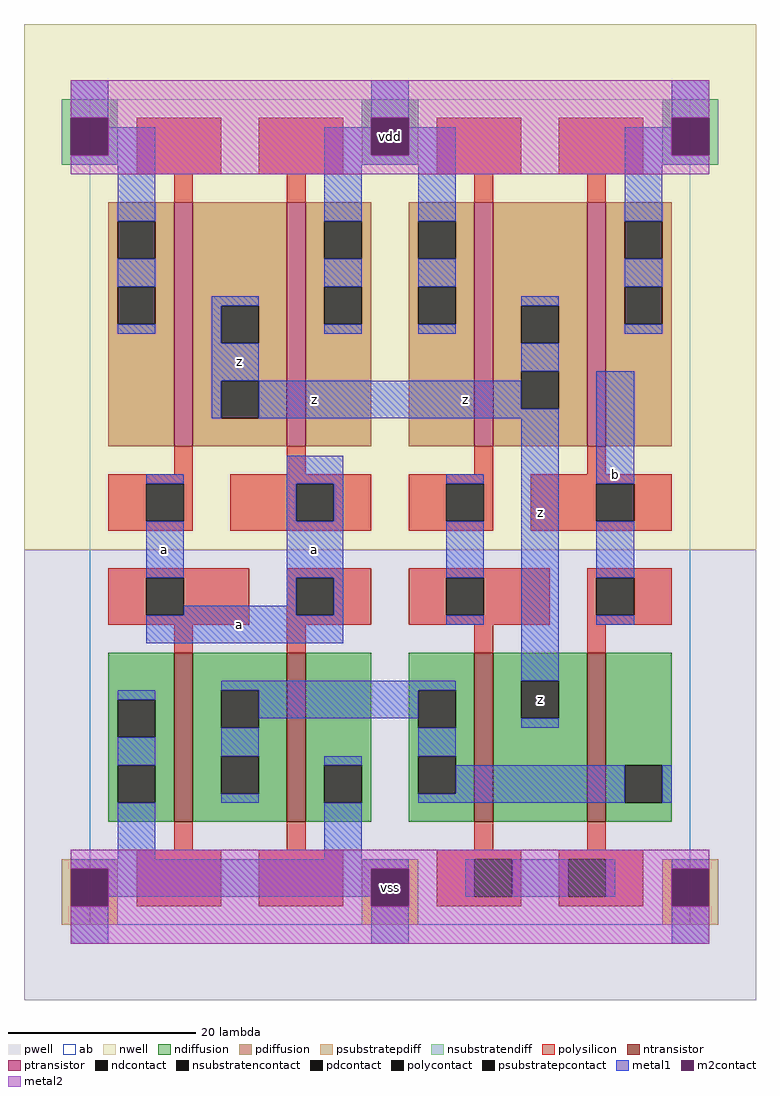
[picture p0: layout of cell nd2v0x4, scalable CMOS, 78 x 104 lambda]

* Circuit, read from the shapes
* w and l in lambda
.subckt nd2v0x4 a b vdd vss z
M1 n1 a vss vss nfet w=18 l=2 m=2
M2 z b n1 vss nfet w=18 l=2 m=2
M3 z a vdd vdd pfet w=26 l=2 m=2
M4 z b vdd vdd pfet w=26 l=2 m=2
.ends

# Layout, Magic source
magic
tech scmos
<< ab >>
rect 0 0 64 88
<< pwell >>
rect -7 -8 71 40
<< nwell >>
rect -7 40 71 96
<< polysilicon >>
rect 5 80 14 86
rect 18 80 27 86
rect 37 80 46 86
rect 50 80 59 86
rect 9 77 11 80
rect 21 77 23 80
rect 41 77 43 80
rect 53 77 55 80
rect 9 48 11 51
rect 21 48 23 51
rect 41 48 43 51
rect 53 48 55 51
rect 2 47 11 48
rect 2 43 6 47
rect 10 43 11 47
rect 2 42 11 43
rect 15 47 30 48
rect 15 43 22 47
rect 26 43 30 47
rect 15 42 30 43
rect 34 47 43 48
rect 34 43 38 47
rect 42 43 43 47
rect 34 42 43 43
rect 47 47 62 48
rect 47 43 54 47
rect 58 43 62 47
rect 47 42 62 43
rect 2 37 17 38
rect 2 33 6 37
rect 10 33 17 37
rect 2 32 17 33
rect 21 37 30 38
rect 21 33 22 37
rect 26 33 30 37
rect 21 32 30 33
rect 34 37 49 38
rect 34 33 38 37
rect 42 33 49 37
rect 34 32 49 33
rect 53 37 62 38
rect 53 33 54 37
rect 58 33 62 37
rect 53 32 62 33
rect 9 29 11 32
rect 21 29 23 32
rect 41 29 43 32
rect 53 29 55 32
rect 9 8 11 11
rect 21 8 23 11
rect 41 8 43 11
rect 53 8 55 11
rect 5 2 14 8
rect 18 2 27 8
rect 37 7 46 8
rect 37 3 41 7
rect 45 3 46 7
rect 37 2 46 3
rect 50 7 59 8
rect 50 3 51 7
rect 55 3 59 7
rect 50 2 59 3
<< ndiffusion >>
rect 2 24 9 29
rect 2 20 3 24
rect 7 20 9 24
rect 2 17 9 20
rect 2 13 3 17
rect 7 13 9 17
rect 2 11 9 13
rect 11 25 21 29
rect 11 21 14 25
rect 18 21 21 25
rect 11 18 21 21
rect 11 14 14 18
rect 18 14 21 18
rect 11 11 21 14
rect 23 17 30 29
rect 23 13 25 17
rect 29 13 30 17
rect 23 11 30 13
rect 34 25 41 29
rect 34 21 35 25
rect 39 21 41 25
rect 34 18 41 21
rect 34 14 35 18
rect 39 14 41 18
rect 34 11 41 14
rect 43 26 53 29
rect 43 22 46 26
rect 50 22 53 26
rect 43 11 53 22
rect 55 17 62 29
rect 55 13 57 17
rect 61 13 62 17
rect 55 11 62 13
<< pdiffusion >>
rect 2 75 9 77
rect 2 71 3 75
rect 7 71 9 75
rect 2 68 9 71
rect 2 64 3 68
rect 7 64 9 68
rect 2 51 9 64
rect 11 66 21 77
rect 11 62 14 66
rect 18 62 21 66
rect 11 58 21 62
rect 11 54 14 58
rect 18 54 21 58
rect 11 51 21 54
rect 23 75 30 77
rect 23 71 25 75
rect 29 71 30 75
rect 23 68 30 71
rect 23 64 25 68
rect 29 64 30 68
rect 23 51 30 64
rect 34 75 41 77
rect 34 71 35 75
rect 39 71 41 75
rect 34 68 41 71
rect 34 64 35 68
rect 39 64 41 68
rect 34 51 41 64
rect 43 66 53 77
rect 43 62 46 66
rect 50 62 53 66
rect 43 59 53 62
rect 43 55 46 59
rect 50 55 53 59
rect 43 51 53 55
rect 55 75 62 77
rect 55 71 57 75
rect 61 71 62 75
rect 55 68 62 71
rect 55 64 57 68
rect 61 64 62 68
rect 55 51 62 64
<< metal1 >>
rect -2 86 2 90
rect 30 86 34 90
rect 2 82 7 85
rect -2 81 7 82
rect 3 75 7 81
rect 3 68 7 71
rect 25 82 30 85
rect 62 86 66 90
rect 34 82 39 85
rect 25 81 39 82
rect 25 75 29 81
rect 25 68 29 71
rect 3 63 7 64
rect 13 66 18 67
rect 13 62 14 66
rect 25 63 29 64
rect 35 75 39 81
rect 35 68 39 71
rect 57 82 62 85
rect 57 81 66 82
rect 57 75 61 81
rect 57 68 61 71
rect 35 63 39 64
rect 46 66 50 67
rect 13 58 18 62
rect 57 63 61 64
rect 46 59 50 62
rect 13 54 14 58
rect 18 55 46 58
rect 18 54 50 55
rect 6 47 10 48
rect 6 37 10 43
rect 21 47 27 50
rect 21 43 22 47
rect 26 43 27 47
rect 21 37 27 43
rect 21 34 22 37
rect 10 33 22 34
rect 26 33 27 37
rect 6 30 27 33
rect 38 47 42 48
rect 38 37 42 43
rect 38 32 42 33
rect 46 26 50 54
rect 54 47 58 59
rect 54 37 58 43
rect 54 32 58 33
rect 14 25 39 26
rect 3 24 7 25
rect 3 17 7 20
rect 18 22 35 25
rect 14 18 18 21
rect 46 21 50 22
rect 35 18 39 21
rect 14 13 18 14
rect 25 17 29 18
rect 39 14 57 17
rect 35 13 57 14
rect 61 13 62 17
rect 3 7 7 13
rect 25 7 29 13
rect -2 6 34 7
rect 2 3 30 6
rect -2 -2 2 2
rect 40 3 41 7
rect 45 3 51 7
rect 55 3 56 7
rect 62 6 66 7
rect 30 -2 34 2
rect 62 -2 66 2
<< metal2 >>
rect -2 86 66 90
rect 2 82 30 86
rect 34 82 62 86
rect -2 80 66 82
rect -2 6 66 8
rect 2 2 30 6
rect 34 2 62 6
rect -2 -2 66 2
<< ntransistor >>
rect 9 11 11 29
rect 21 11 23 29
rect 41 11 43 29
rect 53 11 55 29
<< ptransistor >>
rect 9 51 11 77
rect 21 51 23 77
rect 41 51 43 77
rect 53 51 55 77
<< polycontact >>
rect 6 43 10 47
rect 22 43 26 47
rect 38 43 42 47
rect 54 43 58 47
rect 6 33 10 37
rect 22 33 26 37
rect 38 33 42 37
rect 54 33 58 37
rect 41 3 45 7
rect 51 3 55 7
<< ndcontact >>
rect 3 20 7 24
rect 3 13 7 17
rect 14 21 18 25
rect 14 14 18 18
rect 25 13 29 17
rect 35 21 39 25
rect 35 14 39 18
rect 46 22 50 26
rect 57 13 61 17
<< pdcontact >>
rect 3 71 7 75
rect 3 64 7 68
rect 14 62 18 66
rect 14 54 18 58
rect 25 71 29 75
rect 25 64 29 68
rect 35 71 39 75
rect 35 64 39 68
rect 46 62 50 66
rect 46 55 50 59
rect 57 71 61 75
rect 57 64 61 68
<< m2contact >>
rect -2 82 2 86
rect 30 82 34 86
rect 62 82 66 86
rect -2 2 2 6
rect 30 2 34 6
rect 62 2 66 6
<< psubstratepcontact >>
rect -2 2 2 6
rect 30 2 34 6
rect 62 2 66 6
<< nsubstratencontact >>
rect -2 82 2 86
rect 30 82 34 86
rect 62 82 66 86
<< psubstratepdiff >>
rect -3 6 3 7
rect -3 2 -2 6
rect 2 2 3 6
rect 29 6 35 7
rect 29 2 30 6
rect 34 2 35 6
rect 61 6 67 7
rect 61 2 62 6
rect 66 2 67 6
rect -3 0 3 2
rect 29 0 35 2
rect 61 0 67 2
<< nsubstratendiff >>
rect -3 86 3 88
rect 29 86 35 88
rect 61 86 67 88
rect -3 82 -2 86
rect 2 82 3 86
rect -3 81 3 82
rect 29 82 30 86
rect 34 82 35 86
rect 29 81 35 82
rect 61 82 62 86
rect 66 82 67 86
rect 61 81 67 82
<< labels >>
rlabel metal1 8 40 8 40 6 a
rlabel metal1 16 32 16 32 6 a
rlabel metal1 16 60 16 60 6 z
rlabel metal1 24 40 24 40 6 a
rlabel metal1 24 56 24 56 6 z
rlabel ndcontact 48 24 48 24 6 z
rlabel metal1 48 44 48 44 6 z
rlabel metal1 40 56 40 56 6 z
rlabel metal1 56 48 56 48 6 b
rlabel m2contact 32 4 32 4 6 vss
rlabel m2contact 32 84 32 84 6 vdd
<< end >>
